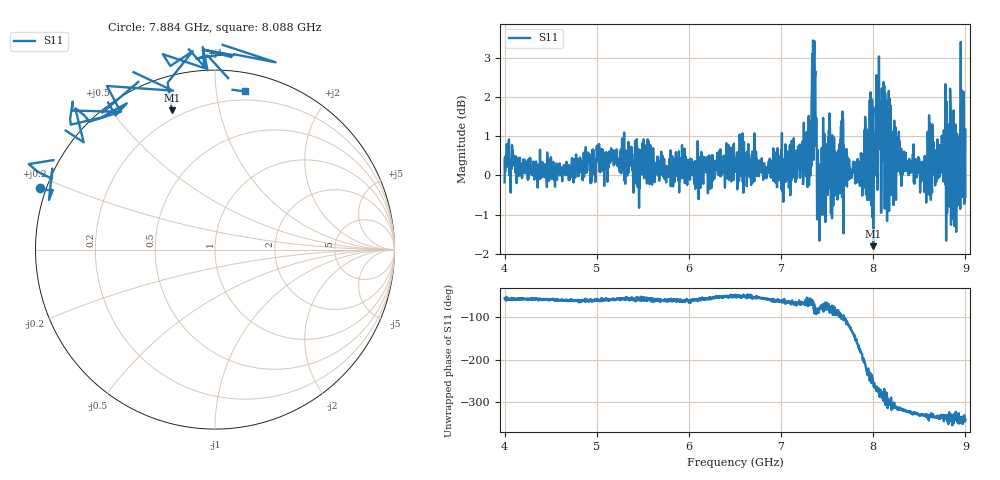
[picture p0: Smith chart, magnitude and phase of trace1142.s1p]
! Created with skrf 1.8.0 (http://scikit-rf.org).
# Hz S RI R 50.0
!freq ReS11 ImS11
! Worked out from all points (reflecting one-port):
!   1601 points, 4 GHz to 9 GHz, reference 50 ohm
!   lowest |S11| = -1.8 dB at 8 GHz (marker M1), VSWR 9.64, Z = 7.96 + j36.3 ohm
!   phase of S11 starts at -56 deg and turns -284 deg over the sweep
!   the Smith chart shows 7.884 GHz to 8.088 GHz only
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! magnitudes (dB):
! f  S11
! 4 GHz  -0.2
! 4.028 GHz  0.5
! 4.625 GHz  -0.2
! 5.25 GHz  0.1
! 5.875 GHz  0.2
! 6.5 GHz  0.3
! 7.125 GHz  0.6
! 7.294 GHz  0.8
! 7.356 GHz  3.0
! 7.381 GHz  1.5
! 7.4 GHz  0.6
! 7.428 GHz  -0.2
! 7.509 GHz  0.3
! 7.65 GHz  1.2
! 7.75 GHz  0.2
! 8 GHz  -1.8
! 8.05 GHz  2.3
! 8.066 GHz  0.8
! 8.119 GHz  2.3
! 8.197 GHz  0.5
! 8.375 GHz  0.3
! 8.562 GHz  -0.1
! 8.759 GHz  0.2
! 8.806 GHz  0.2
! 8.834 GHz  2.2
! 8.919 GHz  -0.5
! 8.956 GHz  0.1
! 9 GHz  -0.5
